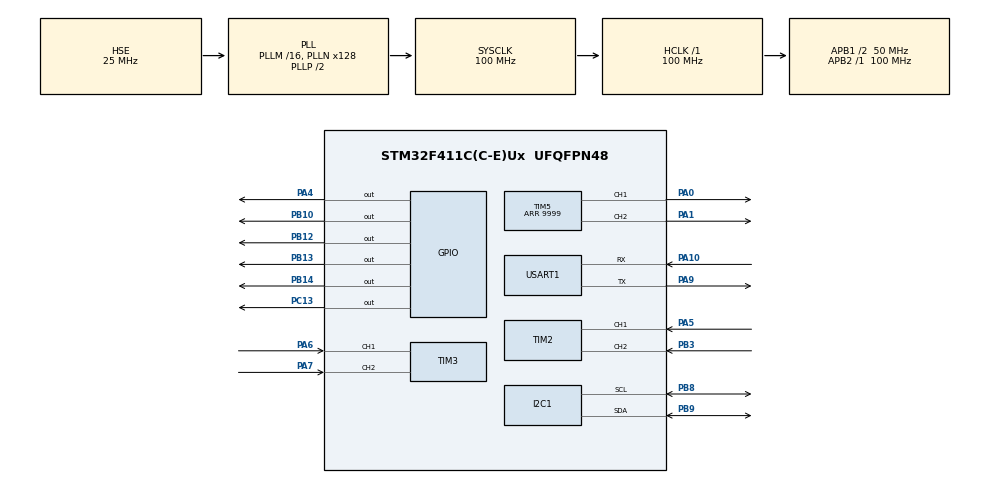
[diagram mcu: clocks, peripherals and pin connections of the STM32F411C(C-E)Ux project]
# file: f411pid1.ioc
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I2C1.OwnAddress=11
Mcu.Family=STM32F4
Mcu.Name=STM32F411C(C-E)Ux
Mcu.Package=UFQFPN48
NVIC.I2C1_ER_IRQn=true\:0\:0\:false\:false\:true\:true\:true\:true
NVIC.I2C1_EV_IRQn=true\:0\:0\:false\:false\:true\:true\:true\:true
NVIC.PriorityGroup=NVIC_PRIORITYGROUP_4
PA0-WKUP.Signal=S_TIM5_CH1
PA1.Signal=S_TIM5_CH2
PA10.Mode=Asynchronous
PA10.Signal=USART1_RX
PA13.Mode=Serial_Wire
PA13.Signal=SYS_JTMS-SWDIO
PA14.Mode=Serial_Wire
PA14.Signal=SYS_JTCK-SWCLK
PA4.Signal=GPIO_Output
PA5.Signal=S_TIM2_CH1_ETR
PA6.Signal=S_TIM3_CH1
PA7.Signal=S_TIM3_CH2
PA9.Mode=Asynchronous
PA9.Signal=USART1_TX
PB10.Signal=GPIO_Output
PB12.Signal=GPIO_Output
PB13.Signal=GPIO_Output
PB14.Signal=GPIO_Output
PB3.Signal=S_TIM2_CH2
PB8.Mode=I2C
PB8.Signal=I2C1_SCL
PB9.Mode=I2C
PB9.Signal=I2C1_SDA
PC13-ANTI_TAMP.Signal=GPIO_Output
PH0\ -\ OSC_IN.Mode=HSE-External-Oscillator
PH0\ -\ OSC_IN.Signal=RCC_OSC_IN
PH1\ -\ OSC_OUT.Mode=HSE-External-Oscillator
PH1\ -\ OSC_OUT.Signal=RCC_OSC_OUT
ProjectManager.HeapSize=0x200
ProjectManager.StackSize=0x400
ProjectManager.TargetToolchain=STM32CubeIDE
RCC.48MHZClocksFreq_Value=50000000
RCC.AHBFreq_Value=100000000
RCC.APB1CLKDivider=RCC_HCLK_DIV2
RCC.APB1Freq_Value=50000000
RCC.APB1TimFreq_Value=100000000
RCC.APB2Freq_Value=100000000
RCC.APB2TimFreq_Value=100000000
RCC.CortexFreq_Value=100000000
RCC.HCLKFreq_Value=100000000
RCC.HSE_VALUE=25000000
RCC.HSI_VALUE=16000000
RCC.LSE_VALUE=32768
RCC.PLLN=128
RCC.PLLSourceVirtual=RCC_PLLSOURCE_HSE
RCC.SYSCLKFreq_VALUE=100000000
RCC.SYSCLKSource=RCC_SYSCLKSOURCE_PLLCLK
RCC.VCOOutputFreq_Value=200000000
SH.S_TIM2_CH1_ETR.0=TIM2_CH1,Encoder_Interface
SH.S_TIM2_CH2.0=TIM2_CH2,Encoder_Interface
SH.S_TIM3_CH1.0=TIM3_CH1,Encoder_Interface
SH.S_TIM3_CH2.0=TIM3_CH2,Encoder_Interface
SH.S_TIM5_CH1.0=TIM5_CH1,PWM Generation1 CH1
SH.S_TIM5_CH2.0=TIM5_CH2,PWM Generation2 CH2
TIM2.EncoderMode=TIM_ENCODERMODE_TI12
TIM3.EncoderMode=TIM_ENCODERMODE_TI12
TIM5.Channel-PWM\ Generation1\ CH1=TIM_CHANNEL_1
TIM5.Channel-PWM\ Generation2\ CH2=TIM_CHANNEL_2
TIM5.Period=9999
USART1.VirtualMode=VM_ASYNC
board=custom

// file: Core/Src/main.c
/* USER CODE BEGIN Header */
/**
  ******************************************************************************
  * @file           : main.c
  * @brief          : Main program body
  ******************************************************************************
  * @attention
  *
  * Copyright (c) 2026 STMicroelectronics.
  * All rights reserved.
  *
  * This software is licensed under terms that can be found in the LICENSE file
  * in the root directory of this software component.
  * If no LICENSE file comes with this software, it is provided AS-IS.
  *
  ******************************************************************************
  */
/* USER CODE END Header */
#include "main.h"
#include "i2c.h"
#include "tim.h"
#include "usart.h"
#include "gpio.h"

/* USER CODE BEGIN Includes */

#include <stdio.h>
#include <math.h>
#include <stdlib.h>
#include <stdbool.h>

#include "pid_v1.h"

/* USER CODE END Includes */

/* USER CODE BEGIN PD */

// i2c commands protocol
#define CMD_RESET_ENCODERS 1
#define CMD_SET_PWM 2           // params: pwmLeft, pwmRight
#define CMD_LIDAR_MOTOR_ON 3
#define CMD_LIDAR_MOTOR_OFF 4
#define CMD_SET_MOTION 5        // params: leftSetPoint, rightSetpoint, distance
#define CMD_SET_VEL 6
#define CMD_SET_PID_KL  81
#define CMD_SET_PID_KR  82
#define CMD_SET_PID_KS  83

// motors pins
//#define LEFT_IN1   GPIOA, GPIO_PIN_4
//#define LEFT_IN2   GPIOB, GPIO_PIN_10
#define DAIN1  GPIOB, GPIO_PIN_10
#define DAIN2  GPIOA, GPIO_PIN_4
#define DAIN3  GPIOB, GPIO_PIN_12
#define DAIN4  GPIOB, GPIO_PIN_13

// LeftMotor
//#define leftMotorEn ENA
#define leftMotorEnENxTIM 5
#define leftMotorEnENxCH 1
#define leftMotorForward DAIN1
#define leftMotorBackward DAIN2

// RightMotor
//#define rightMotorEn ENB
#define rightMotorEnENxTIM 5
#define rightMotorEnENxCH 2
#define rightMotorForward DAIN3
#define rightMotorBackward DAIN4

#define PWM_MAX  9999

// pid.h (defines no antigo ficheiro pid.h e usadas no pid.ino e no diffbase.ino)

#define SPEED_PID_SAMPLE_TIME 25.0

// left speed PID control
#define LEFT_SPEED_PID_MIN_OUTPUT 5630
#define LEFT_SPEED_PID_MAX_OUTPUT 9999

// right speed PID control
#define RIGHT_SPEED_PID_MIN_OUTPUT 5630
#define RIGHT_SPEED_PID_MAX_OUTPUT 9999

// steering PID
#define STEERING_PID_SAMPLE_TIME 50 // 5
#define STEERING_PID_TARGET 0
#define STEERING_PID_MIN_OUTPUT -100
#define STEERING_PID_MAX_OUTPUT 100

// adaptative pid
//#define STEERING_PID_ADAPTATIVE_LIMIT 20
//#define STEERING_PID_ADAPTATIVE_DELAY 100
//#define SPEED_PID_ADAPTATIVE_LIMIT1 15
//#define SPEED_PID_ADAPTATIVE_LIMIT2 30
// speed change process
//#define SPEED_PID_CHANGE_DELAY 300   // time to wait before start change speed (SPEED_PID_SAMPLE_TIME * 12)
//unsigned long speedPidChangeTimer;
//int speedPidStepInterval = 250; // time between speed change steps
//byte speedPidChangeStatus = 0;

//#define MOTOR_TIME 200
//#define LIDAR_MOTOR_PIN PB12

// eof pid.h

/* USER CODE END PD */

/* USER CODE BEGIN PV */
uint32_t t_led = 0;
uint32_t t_uart = 0;

uint32_t LED_PERIOD  = 500;   // ms
uint32_t UART_PERIOD = 1000;  // ms

uint8_t i2c_rx_buf[32];
uint8_t i2c_tx_buf[32];

// left encoder
volatile int16_t encoderLeftPulsesRead  = 0;
int32_t encoderLeftPulses = 0;
int16_t encoderLeftLastRead = 0;
int16_t encoderLeftSpeedZeroRef = 0;
int16_t encoderLeftSteeringZeroRef = 0;
int16_t encoderLeftPulsesSpeedPID; 		// the number of pulses for PID
int16_t encoderLeftPulsesSteeringPID; 	// the number of pulses for PID, must be reset at same time
int8_t  encoderLeftSign = +1;   		// usar -1 se motor estiver invertido

// right encoder
volatile int16_t encoderRightPulsesRead = 0;
int32_t encoderRightPulses = 0;
int16_t encoderRightLastRead = 0;
int16_t encoderRightSpeedZeroRef = 0;
int16_t encoderRightSteeringZeroRef = 0;
int16_t encoderRightPulsesSpeedPID; // the number of pulses PID
int16_t encoderRightPulsesSteeringPID; // the number of pulses for PID, must be reset at same time
int8_t  encoderRightSign = +1;  // usar -1 se motor estiver invertido

// pid.h (variaveis declaradas no antigo ficheiro pid.h e usadas no pid.ino e no diffbase.ino)

// steering PID control
bool useSteeringPid = false;

double steeringPidKp0 = 1.0;
double steeringPidKi0 = 0.01;
double steeringPidKd0 = 0.0;

double steeringPidInput = 0;
int16_t steeringPidInputLast = 0;
double steeringPidOutput; // Power supplied to the motor PWM value.
double steeringPidSetPoint;
bool steeringdPidResult = false;

//PID steeringPid(&steeringPidInput, &steeringPidOutput, &steeringPidSetPoint, steeringPidKp0, steeringPidKi0, steeringPidKd0, REVERSE);
PID_t steeringPid;

// left speed PID control
double leftSpeedPidKp0 = 100;
double leftSpeedPidKi0 = 0;
double leftSpeedPidKd0 = 0;

double leftSpeedPidInput = 0;
int16_t leftSpeedPidInputLast = 0; // debug
double leftSpeedPidOutput; // Power supplied to the motor PWM value.
double leftSpeedPidSetPoint;
bool leftSpeedPidResult = false;

double leftSpeedPidSetPointTmp;
int16_t leftSpeedPidSetPointDirection;

//PID leftSpeedPid(&leftSpeedPidInput, &leftSpeedPidOutput, &leftSpeedPidSetPoint, leftSpeedPidKp0, leftSpeedPidKi0, leftSpeedPidKd0, DIRECT);
PID_t leftSpeedPid;

// right speed PID control
double rightSpeedPidKp0 = 100;
double rightSpeedPidKi0 = 0;
double rightSpeedPidKd0 = 0;

double rightSpeedPidInput = 0;
int16_t rightSpeedPidInputLast = 0; // debug
double rightSpeedPidOutput; // Power supplied to the motor PWM value.
double rightSpeedPidSetPoint;
bool rightSpeedPidResult = false;

double rightSpeedPidSetPointTmp;
int16_t rightSpeedPidSetPointDirection;

//PID rightSpeedPid(&rightSpeedPidInput, &rightSpeedPidOutput, &rightSpeedPidSetPoint, rightSpeedPidKp0, rightSpeedPidKi0, rightSpeedPidKd0, DIRECT);
PID_t rightSpeedPid;

// adaptative steering pid
//bool steeringPidAdaptativeStart = false;
//unsigned long steeringPidAdaptativeTimer;
//double steeringPidKp1 = 100.0;
//double steeringPidKi1 = 10.0;
//double steeringPidKd1 = 0;

// adaptative left pid
//double leftSpeedPidKp1 = 6000;
//double leftSpeedPidKi1 = 500;
//double leftSpeedPidKd1 = 0;
//double leftSpeedPidKp2 = 6000;
//double leftSpeedPidKi2 = 500;
//double leftSpeedPidKd2 = 0;

// adaptative right pid
//double rightSpeedPidKp1 = 6000;
//double rightSpeedPidKi1 = 500;
//double rightSpeedPidKd1 = 0;
//double rightSpeedPidKp2 = 6000;
//double rightSpeedPidKi2 = 500;
//double rightSpeedPidKd2 = 0;

// other
double minPidVel = 0.40;
double maxPidVel = 1.40;

// eof pid.h

/*
long encoderLeftPulsesTarget = 0;
long encoderRightPulsesTarget = 0;
bool encoderLeftPulsesOnTarget = false;
bool encoderRightPulsesOnTarget = false;
bool encoderPulsesTargetEnabled = false;
int encoderLeftPulsesTargetStopOffset = 0;
int encoderRightPulsesTargetStopOffset = 0;

long encoderLeftPulsesTargetStart = 0;
long encoderRightPulsesTargetStart = 0;
*/

int16_t leftMotorPwmOut = 0;
int16_t rightMotorPwmOut = 0;
int16_t leftMotorPwmOutCmd = 0;
int16_t rightMotorPwmOutCmd = 0;
bool PWMdirect = false;

//unsigned long motorTimer = 0;
//int motorPwm = 0;
//bool motorPwmUp = true;
//int lidarMotorPower = 0;

/* USER CODE END PV */

void SystemClock_Config(void);
/* USER CODE BEGIN PFP */

//void apply_motors(int16_t left, int16_t right);
void prepare_i2c_tx(void);

void setup_PID(void);
void update_PID(void);
bool leftSpeedPidCompute(void);
bool rightSpeedPidCompute(void);
bool steeringPidCompute(void);

void pwmWrite(uint8_t tim, uint8_t ch, int16_t pwm);
void bodyMotorsControl(void);

/* USER CODE END PFP */

/* USER CODE BEGIN 0 */

/*
int _write(int file, char *ptr, int len)
{
    HAL_UART_Transmit(&huart1, (uint8_t*)ptr, len, HAL_MAX_DELAY);
    return len;
}
*/

/* USER CODE END 0 */

int main(void)
{

  /* MCU Configuration--------------------------------------------------------*/

  /* Reset of all peripherals, Initializes the Flash interface and the Systick. */
  HAL_Init();

  /* Configure the system clock */
  SystemClock_Config();

  /* Initialize all configured peripherals */
  MX_GPIO_Init();
  MX_I2C1_Init();
  MX_TIM2_Init();
  MX_TIM3_Init();
  MX_TIM5_Init();
  MX_USART1_UART_Init();
  /* USER CODE BEGIN 2 */

  HAL_TIM_Encoder_Start(&htim2, TIM_CHANNEL_ALL);
  HAL_TIM_Encoder_Start(&htim3, TIM_CHANNEL_ALL);

  HAL_TIM_PWM_Start(&htim5, TIM_CHANNEL_1);
  HAL_TIM_PWM_Start(&htim5, TIM_CHANNEL_2);

  HAL_I2C_EnableListen_IT(&hi2c1);

  setup_PID();

  /*
  // left pid control start
  PID_Init(&leftSpeedPid, &leftSpeedPidInput, &leftSpeedPidOutput, &leftSpeedPidSetPoint,
             2.0, 5.0, 1.0, P_ON_E, DIRECT);

  PID_SetMode(&leftSpeedPid, AUTOMATIC);

  PID_Init(&rightSpeedPid, &rightSpeedPidInput, &rightSpeedPidOutput, &rightSpeedPidSetPoint,
             2.0, 5.0, 1.0, P_ON_E, DIRECT);

  PID_SetMode(&rightSpeedPid, AUTOMATIC);
  */

  /* USER CODE END 2 */

  /* Infinite loop */
  while (1)
  {

    /* USER CODE BEGIN 3 */

	  static double encoderLeftPulsesLast = 999;
	  static double encoderRightPulsesLast = 999;

	  uint32_t now = HAL_GetTick();

	  // LED blink
	  if ((now - t_led) >= LED_PERIOD)
	  {
	    t_led = now;
	    HAL_GPIO_TogglePin(GPIOC, GPIO_PIN_13);
	  }

	  // read encoders
	  encoderLeftPulsesRead = (int16_t)__HAL_TIM_GET_COUNTER(&htim2);
	  encoderRightPulsesRead = (int16_t)__HAL_TIM_GET_COUNTER(&htim3);

	  // -------- LEFT --------
	  int16_t leftDelta = encoderLeftPulsesRead - encoderLeftLastRead;
	  // overflow tratado automaticamente por aritmética int16_t
	  encoderLeftLastRead = encoderLeftPulsesRead;
	  encoderLeftPulses += (int32_t)(encoderLeftSign * leftDelta);
	  encoderLeftPulsesSpeedPID = (int16_t)(encoderLeftSign * (encoderLeftPulsesRead - encoderLeftSpeedZeroRef));
	  encoderLeftPulsesSteeringPID = (int16_t)(encoderLeftSign * (encoderLeftPulsesRead - encoderLeftSteeringZeroRef));

	  // -------- RIGHT --------
	  int16_t rightDelta = encoderRightPulsesRead - encoderRightLastRead;
	  encoderRightLastRead = encoderRightPulsesRead;
	  encoderRightPulses += (int32_t)(encoderRightSign * rightDelta);
	  encoderRightPulsesSpeedPID = (int16_t)(encoderRightSign * (encoderRightPulsesRead - encoderRightSpeedZeroRef));
	  encoderRightPulsesSteeringPID = (int16_t)(encoderRightSign * (encoderRightPulsesRead - encoderRightSteeringZeroRef));

	  if(encoderLeftPulses != encoderLeftPulsesLast || encoderRightPulses != encoderRightPulsesLast) {
	    if(encoderLeftPulses != encoderLeftPulsesLast) encoderLeftPulsesLast = encoderLeftPulses;
	    if(encoderRightPulses != encoderRightPulsesLast) encoderRightPulsesLast = encoderRightPulses;
	    //Serial.print(encoderLeftPulses); Serial.print("\t"); Serial.print(encoderRightPulses); Serial.println("\t");
	    //Serial.print(leftMotorPwmOut); Serial.print("\t"); Serial.print(rightMotorPwmOut); Serial.print("\t"); Serial.print(encoderLeftPulses); Serial.print("\t"); Serial.print(encoderRightPulses); Serial.println("\t");
	  }

	  // check encoder targets
	  // TODO

	  //PID_Compute(&pidfl);
	  //PID_Compute(&pidfr);
	  update_PID();

	  // set speed
	  if(PWMdirect) {
	    leftMotorPwmOut = leftMotorPwmOutCmd;
	    rightMotorPwmOut = rightMotorPwmOutCmd;
	    //PWMdirect = false;
	  } else {
	    leftMotorPwmOut = 0;
	    rightMotorPwmOut = 0;
	    if(leftSpeedPidSetPoint != 0) {
	      leftMotorPwmOut = leftSpeedPidOutput * leftSpeedPidSetPointDirection; // - steeringPidOutput;
	    }
	    if(rightSpeedPidSetPoint != 0) {
	      rightMotorPwmOut = rightSpeedPidOutput * rightSpeedPidSetPointDirection; // + steeringPidOutput;
	    }
	  }

	  // UART debug
	  if ((now - t_uart) >= UART_PERIOD)
	  {
	    t_uart = now;
	    char buf[64];
	    int n = sprintf(buf, "El=%ld Er=%ld spl=%d spr=%d pwl=%d pwr=%d pws=%d\r\n",
	    		encoderLeftPulses,
				encoderRightPulses,
				(int)leftSpeedPidSetPoint,
				(int)rightSpeedPidSetPoint,
				leftMotorPwmOut,
				rightMotorPwmOut,
				(int)PWMdirect
				);
	    HAL_UART_Transmit(&huart1, (uint8_t*)buf, n, 50);
	  }

	  bodyMotorsControl();

	  //apply_motors(leftSpeedPidSetPoint, rightSpeedPidSetPoint);

  }
  /* USER CODE END 3 */
}

void SystemClock_Config(void)
{
  RCC_OscInitTypeDef RCC_OscInitStruct = {0};
  RCC_ClkInitTypeDef RCC_ClkInitStruct = {0};

  /** Configure the main internal regulator output voltage
  */
  __HAL_RCC_PWR_CLK_ENABLE();
  __HAL_PWR_VOLTAGESCALING_CONFIG(PWR_REGULATOR_VOLTAGE_SCALE1);

  /** Initializes the RCC Oscillators according to the specified parameters
  * in the RCC_OscInitTypeDef structure.
  */
  RCC_OscInitStruct.OscillatorType = RCC_OSCILLATORTYPE_HSE;
  RCC_OscInitStruct.HSEState = RCC_HSE_ON;
  RCC_OscInitStruct.PLL.PLLState = RCC_PLL_ON;
  RCC_OscInitStruct.PLL.PLLSource = RCC_PLLSOURCE_HSE;
  RCC_OscInitStruct.PLL.PLLM = 16;
  RCC_OscInitStruct.PLL.PLLN = 128;
  RCC_OscInitStruct.PLL.PLLP = RCC_PLLP_DIV2;
  RCC_OscInitStruct.PLL.PLLQ = 4;
  if (HAL_RCC_OscConfig(&RCC_OscInitStruct) != HAL_OK)
  {
    Error_Handler();
  }

  /** Initializes the CPU, AHB and APB buses clocks
  */
  RCC_ClkInitStruct.ClockType = RCC_CLOCKTYPE_HCLK|RCC_CLOCKTYPE_SYSCLK
                              |RCC_CLOCKTYPE_PCLK1|RCC_CLOCKTYPE_PCLK2;
  RCC_ClkInitStruct.SYSCLKSource = RCC_SYSCLKSOURCE_PLLCLK;
  RCC_ClkInitStruct.AHBCLKDivider = RCC_SYSCLK_DIV1;
  RCC_ClkInitStruct.APB1CLKDivider = RCC_HCLK_DIV2;
  RCC_ClkInitStruct.APB2CLKDivider = RCC_HCLK_DIV1;

  if (HAL_RCC_ClockConfig(&RCC_ClkInitStruct, FLASH_LATENCY_3) != HAL_OK)
  {
    Error_Handler();
  }
}

/* USER CODE BEGIN 4 */

void setup_PID() {

  // steering PID
  steeringPidSetPoint = STEERING_PID_TARGET;
  PID_Init(&steeringPid, &steeringPidInput, &steeringPidOutput, &steeringPidSetPoint,
		  steeringPidKp0, steeringPidKi0, steeringPidKd0, P_ON_E, REVERSE);

  //PID_SetMode(&steeringPid, AUTOMATIC);
  PID_SetMode(&steeringPid, MANUAL);
  PID_SetSampleTime(&steeringPid, STEERING_PID_SAMPLE_TIME);
  PID_SetOutputLimits(&steeringPid, STEERING_PID_MIN_OUTPUT, STEERING_PID_MAX_OUTPUT);

  // left speed PID
  leftSpeedPidSetPoint = 0;

  PID_Init(&leftSpeedPid, &leftSpeedPidInput, &leftSpeedPidOutput, &leftSpeedPidSetPoint,
		  leftSpeedPidKp0, leftSpeedPidKi0, leftSpeedPidKd0, P_ON_E, DIRECT);

  //PID_SetMode(&leftSpeedPid, AUTOMATIC);
  PID_SetMode(&leftSpeedPid, MANUAL);
  PID_SetSampleTime(&leftSpeedPid, SPEED_PID_SAMPLE_TIME);
  PID_SetOutputLimits(&leftSpeedPid, LEFT_SPEED_PID_MIN_OUTPUT, LEFT_SPEED_PID_MAX_OUTPUT);

  // right speed PID
  rightSpeedPidSetPoint = 0;

  PID_Init(&rightSpeedPid, &rightSpeedPidInput, &rightSpeedPidOutput, &rightSpeedPidSetPoint,
		  rightSpeedPidKp0, rightSpeedPidKi0, rightSpeedPidKd0, P_ON_E, DIRECT);

  //PID_SetMode(&rightSpeedPid, AUTOMATIC);
  PID_SetMode(&rightSpeedPid, MANUAL);
  PID_SetSampleTime(&rightSpeedPid, SPEED_PID_SAMPLE_TIME);
  PID_SetOutputLimits(&rightSpeedPid, RIGHT_SPEED_PID_MIN_OUTPUT, RIGHT_SPEED_PID_MAX_OUTPUT);

}

void update_PID() {
  // calculate steeringPid
  if(useSteeringPid) {
    steeringdPidResult = steeringPidCompute();
  } else steeringdPidResult = false;

  // calculate speedPid
  leftSpeedPidResult = leftSpeedPidCompute();
  rightSpeedPidResult = rightSpeedPidCompute();

  if(leftSpeedPidSetPoint && (leftSpeedPidResult || rightSpeedPidResult)) {
    ////Serial.print(useSteeringPid);
    ////Serial.print("\t"); Serial.print(steeringPidInputLast); Serial.print("\t");
    //Serial.print(encoderLeftPulsesTarget); Serial.print("\t"); Serial.print(encoderRightPulsesTarget); Serial.print("\t");
    //Serial.print(encoderLeftPulses - encoderLeftPulsesTargetStart); Serial.print("\t"); Serial.print(encoderRightPulses - encoderRightPulsesTargetStart); Serial.print("\t");
//    Serial.print(leftSpeedPidSetPoint); Serial.print("\t"); //Serial.print(rightSpeedPidSetPoint); Serial.print("\t");
//    Serial.print(leftSpeedPidInputLast - leftSpeedPidSetPoint); Serial.print("\t");
//    Serial.print(rightSpeedPidInputLast - rightSpeedPidSetPoint); Serial.print("\t");
//    Serial.print(leftSpeedPidOutput); Serial.print("\t"); Serial.print(rightSpeedPidOutput); Serial.print("\t");
    //Serial.println("\t");

	    char buf[128];
	    int n = sprintf(buf, "usp= %d \t %d psp= %d %d %d %d po=%d %d %d %d pws=%d\r\n",
	    		(int)useSteeringPid,
				steeringPidInputLast,
				(int)leftSpeedPidSetPoint,
				(int)rightSpeedPidSetPoint,
				leftSpeedPidInputLast - (int)leftSpeedPidSetPoint,
				rightSpeedPidInputLast - (int)rightSpeedPidSetPoint,
				(int)leftSpeedPidOutput,
				(int)rightSpeedPidOutput,
				leftMotorPwmOut,
				rightMotorPwmOut,
				(int)PWMdirect
				);
	    HAL_UART_Transmit(&huart1, (uint8_t*)buf, n, 50);
  }
}

bool leftSpeedPidCompute() {
  bool pidResult;

  if(useSteeringPid) {
    leftSpeedPidInput = abs(encoderLeftPulsesSpeedPID) + (abs(encoderLeftPulsesSpeedPID) * steeringPidOutput / 100);
  } else {
    leftSpeedPidInput = abs(encoderLeftPulsesSpeedPID);
  }

  // adaptative code here. see old file

  pidResult = PID_Compute(&leftSpeedPid);
  if(pidResult) {
	encoderLeftSpeedZeroRef  = encoderLeftPulsesRead;
    encoderLeftPulsesSpeedPID = 0;
    leftSpeedPidInputLast = leftSpeedPidInput;
  }
  return pidResult;
}

bool rightSpeedPidCompute() {
  bool pidResult;

  if(useSteeringPid) {
    rightSpeedPidInput = abs(encoderRightPulsesSpeedPID) - (abs(encoderRightPulsesSpeedPID) * steeringPidOutput / 100);
  } else {
    rightSpeedPidInput = abs(encoderRightPulsesSpeedPID);
  }

  // adaptative code here. see old file

  pidResult = PID_Compute(&rightSpeedPid);
  if(pidResult) {
	encoderRightSpeedZeroRef = encoderRightPulsesRead;
    encoderRightPulsesSpeedPID = 0;
    rightSpeedPidInputLast = rightSpeedPidInput;
  }
  return pidResult;
}

bool steeringPidCompute() {
  bool pidResult;

  // calculate pwm wheel diference correction using pid
  steeringPidInput = abs(encoderLeftPulsesSteeringPID) - abs(encoderRightPulsesSteeringPID);

  // adaptative code here. see old file

  pidResult = PID_Compute(&steeringPid);
  if(pidResult) {
    steeringPidInputLast = steeringPidInput;
  }
  return pidResult;
}

static inline void setBodyMotorLeftForward(void){
  HAL_GPIO_WritePin(leftMotorForward, GPIO_PIN_SET);
  HAL_GPIO_WritePin(leftMotorBackward, GPIO_PIN_RESET);
}

static inline void setBodyMotorLeftBackward(void){
  HAL_GPIO_WritePin(leftMotorForward, GPIO_PIN_RESET);
  HAL_GPIO_WritePin(leftMotorBackward, GPIO_PIN_SET);
}

static inline void setBodyMotorLeftStop(void){
  HAL_GPIO_WritePin(leftMotorForward, GPIO_PIN_RESET);
  HAL_GPIO_WritePin(leftMotorBackward, GPIO_PIN_RESET);
}

static inline void setBodyMotorLeftBrake() {
  HAL_GPIO_WritePin(leftMotorForward, GPIO_PIN_SET);
  HAL_GPIO_WritePin(leftMotorBackward, GPIO_PIN_SET);
}

static inline void setBodyMotorRightForward(void){
  HAL_GPIO_WritePin(rightMotorForward, GPIO_PIN_SET);
  HAL_GPIO_WritePin(rightMotorBackward, GPIO_PIN_RESET);
}

static inline void setBodyMotorRightBackward(void){
  HAL_GPIO_WritePin(rightMotorForward, GPIO_PIN_RESET);
  HAL_GPIO_WritePin(rightMotorBackward, GPIO_PIN_SET);
}

static inline void setBodyMotorRightStop(void){
  HAL_GPIO_WritePin(rightMotorForward, GPIO_PIN_RESET);
  HAL_GPIO_WritePin(rightMotorBackward, GPIO_PIN_RESET);
}

static inline void setBodyMotorRightBrake() {
  HAL_GPIO_WritePin(rightMotorForward, GPIO_PIN_SET);
  HAL_GPIO_WritePin(rightMotorBackward, GPIO_PIN_SET);
}

/*
void apply_motors(int16_t left, int16_t right)
{
  // LEFT
  if (left == 0) {
    left_stop();
    __HAL_TIM_SET_COMPARE(&htim5, TIM_CHANNEL_1, 0);
  } else if (left > 0) {
    left_forward();
    __HAL_TIM_SET_COMPARE(&htim5, TIM_CHANNEL_1, (left > PWM_MAX ? PWM_MAX : left));
  } else {
    left_backward();
    __HAL_TIM_SET_COMPARE(&htim5, TIM_CHANNEL_1, ((-left) > PWM_MAX ? PWM_MAX : -left));
  }

  // RIGHT
  if (right == 0) {
    right_stop();
    __HAL_TIM_SET_COMPARE(&htim5, TIM_CHANNEL_2, 0);
  } else if (right > 0) {
    right_forward();
    __HAL_TIM_SET_COMPARE(&htim5, TIM_CHANNEL_2, (right > PWM_MAX ? PWM_MAX : right));
  } else {
    right_backward();
    __HAL_TIM_SET_COMPARE(&htim5, TIM_CHANNEL_2, ((-right) > PWM_MAX ? PWM_MAX : -right));
  }
}
*/

void pwmWrite(uint8_t tim, uint8_t ch, int16_t pwm) {

	switch (tim) {
	case 5:
		switch (ch) {
		case 1:
			__HAL_TIM_SET_COMPARE(&htim5, TIM_CHANNEL_1, pwm);
			break;
		case 2:
			__HAL_TIM_SET_COMPARE(&htim5, TIM_CHANNEL_2, pwm);
			break;
		}
		break;
	// add other tim's cases
	}

}

void bodyMotorsControl(void) {
  // brake control vars
  uint8_t leftBrake = false;
  uint8_t rightBrake = false;

  // lógica de controlo do brake
  // TODO

  // set motor left direction & speed
  if(leftMotorPwmOut == 0) {

    if(leftBrake) {
      setBodyMotorLeftBrake();
      //pwmWrite(leftMotorEn,64000);
      //__HAL_TIM_SET_COMPARE(&htim5, TIM_CHANNEL_1, PWM_MAX);
      pwmWrite(leftMotorEnENxTIM, leftMotorEnENxCH, PWM_MAX);
    } else {
      setBodyMotorLeftStop();
      //pwmWrite(leftMotorEn, 0);
      //__HAL_TIM_SET_COMPARE(&htim5, TIM_CHANNEL_1, 0);
      pwmWrite(leftMotorEnENxTIM, leftMotorEnENxCH, 0);
    }

  } else if(leftMotorPwmOut > 0) {
    setBodyMotorLeftForward();
    //pwmWrite(leftMotorEn, leftMotorPwmOut);
    //__HAL_TIM_SET_COMPARE(&htim5, TIM_CHANNEL_1, (leftMotorPwmOut > PWM_MAX ? PWM_MAX : leftMotorPwmOut));
    pwmWrite(leftMotorEnENxTIM, leftMotorEnENxCH, (leftMotorPwmOut > PWM_MAX ? PWM_MAX : leftMotorPwmOut));

  } else {
    setBodyMotorLeftBackward();
    //pwmWrite(leftMotorEn, abs(leftMotorPwmOut));
    //__HAL_TIM_SET_COMPARE(&htim5, TIM_CHANNEL_1, (abs(leftMotorPwmOut) > PWM_MAX ? PWM_MAX : abs(leftMotorPwmOut)));
    pwmWrite(leftMotorEnENxTIM, leftMotorEnENxCH, (abs(leftMotorPwmOut) > PWM_MAX ? PWM_MAX : abs(leftMotorPwmOut)));
  }

  // set motor right direction & speed
  if(rightMotorPwmOut == 0) {

    if(rightBrake) {
      setBodyMotorRightBrake();
      //pwmWrite(rightMotorEn, 64000);
      //__HAL_TIM_SET_COMPARE(&htim5, TIM_CHANNEL_2, PWM_MAX);
      pwmWrite(rightMotorEnENxTIM, rightMotorEnENxCH, PWM_MAX);
    } else {
      setBodyMotorRightStop();
      //pwmWrite(rightMotorEn, 0);
      //__HAL_TIM_SET_COMPARE(&htim5, TIM_CHANNEL_2, 0);
      pwmWrite(rightMotorEnENxTIM, rightMotorEnENxCH, 0);
    }

  } else if(rightMotorPwmOut > 0) {
    setBodyMotorRightForward();
    //pwmWrite(rightMotorEn, rightMotorPwmOut);
    //__HAL_TIM_SET_COMPARE(&htim5, TIM_CHANNEL_2, (rightMotorPwmOut > PWM_MAX ? PWM_MAX : rightMotorPwmOut));
    pwmWrite(rightMotorEnENxTIM, rightMotorEnENxCH, (rightMotorPwmOut > PWM_MAX ? PWM_MAX : rightMotorPwmOut));
  } else {
    setBodyMotorRightBackward();
    //pwmWrite(rightMotorEn, abs(rightMotorPwmOut));
    //__HAL_TIM_SET_COMPARE(&htim5, TIM_CHANNEL_2, (abs(rightMotorPwmOut) > PWM_MAX ? PWM_MAX : abs(rightMotorPwmOut)));
    pwmWrite(rightMotorEnENxTIM, rightMotorEnENxCH, (abs(rightMotorPwmOut) > PWM_MAX ? PWM_MAX : abs(rightMotorPwmOut)));
  }

}

void HAL_I2C_AddrCallback(I2C_HandleTypeDef *hi2c,
                          uint8_t TransferDirection,
                          uint16_t AddrMatchCode)
{
  if (hi2c->Instance == I2C1)
  {
    if (TransferDirection == I2C_DIRECTION_TRANSMIT)
    {
      // Master vai escrever → nós vamos receber
      HAL_I2C_Slave_Seq_Receive_IT(hi2c, i2c_rx_buf, 32, I2C_FIRST_AND_LAST_FRAME);
    }
    else
    {
      prepare_i2c_tx();
      // Master vai ler → nós vamos enviar
      HAL_I2C_Slave_Seq_Transmit_IT(hi2c, i2c_tx_buf, 32, I2C_FIRST_FRAME);
    }
  }
}

void HAL_I2C_SlaveRxCpltCallback(I2C_HandleTypeDef *hi2c)
{
  if (hi2c->Instance != I2C1) return;

  int16_t encoderPulsesTarget = 0;

  uint8_t cmd = i2c_rx_buf[0];

  //int16_t *data = (int16_t*)&i2c_rx_buf[0];

  switch (cmd)
  {
    case 1: // CMD_RESET_ENCODERS
	  HAL_TIM_Encoder_Stop(&htim2, TIM_CHANNEL_ALL);
	  HAL_TIM_Encoder_Stop(&htim3, TIM_CHANNEL_ALL);

      __HAL_TIM_SET_COUNTER(&htim2, 0);
      __HAL_TIM_SET_COUNTER(&htim3, 0);

      HAL_TIM_Encoder_Start(&htim2, TIM_CHANNEL_ALL);
      HAL_TIM_Encoder_Start(&htim3, TIM_CHANNEL_ALL);

      encoderLeftPulses = 0;
      encoderRightPulses = 0;
      break;

    case 2: // CMD_SET_PWM
      // com inversão de bytes no pi
      leftMotorPwmOutCmd  = ((int16_t*)i2c_rx_buf)[1];
      rightMotorPwmOutCmd = ((int16_t*)i2c_rx_buf)[2];
      // sem inversão dos bytesno pi //
      // buf[1] | (buf[2]<<8)
      //leftSpeedPidSetPoint  = (int16_t)(i2c_rx_buf[1] | (i2c_rx_buf[2] << 8));
      //rightSpeedPidSetPoint = (int16_t)(i2c_rx_buf[3] | (i2c_rx_buf[4] << 8));
      PWMdirect = true;
      break;

    case 3: // CMD_LIDAR_MOTOR_ON
        //Serial.println("set lidar on");
        // lidar motor on
        //lidarMotorPower = HIGH;
        //digitalWrite(LIDAR_MOTOR_PIN, lidarMotorPower);

    	//printf("XXXXXXXXXX: %d\r\n", encoderLeftPulses);
      break;

    case 4: // CMD_LIDAR_MOTOR_OFF
        // lidar motor off
        //Serial.println("set lidar off");
        //lidarMotorPower = LOW;
        //digitalWrite(LIDAR_MOTOR_PIN, lidarMotorPower);
      break;

    case 5: // CMD_SET_MOTION
    case 6: // CMD_SET_VEL

    	PWMdirect = false;

      //leftSpeedPidSetPoint  = ((int16_t*)i2c_rx_buf)[1];
      //rightSpeedPidSetPoint = ((int16_t*)i2c_rx_buf)[2];

      leftSpeedPidSetPointTmp  = ((int16_t*)i2c_rx_buf)[1];
      rightSpeedPidSetPointTmp = ((int16_t*)i2c_rx_buf)[2];

      if(cmd == CMD_SET_MOTION) {
        encoderPulsesTarget = ((int16_t*)i2c_rx_buf)[3];
      } else {
        encoderPulsesTarget = 0;
      }

      //Serial.print(leftSpeedPidSetPointTmp); Serial.print("\t"); Serial.print(rightSpeedPidSetPointTmp); Serial.print("\t"); Serial.print(encoderPulsesTarget); Serial.println();

      // set left motors direction and speed
      if(leftSpeedPidSetPointTmp > 0) {
        leftSpeedPidSetPointDirection = 1;
        leftSpeedPidSetPoint = round(leftSpeedPidSetPointTmp);
      } else if(leftSpeedPidSetPointTmp < 0) {
        leftSpeedPidSetPointDirection = -1;
        leftSpeedPidSetPoint = round(abs(leftSpeedPidSetPointTmp));
      } else {
        leftSpeedPidSetPointDirection = 0;
        leftSpeedPidSetPoint = round(leftSpeedPidSetPointTmp);
      }

      // set right motors direction and speed
      if(rightSpeedPidSetPointTmp > 0) {
        rightSpeedPidSetPointDirection = 1;
        rightSpeedPidSetPoint = round(rightSpeedPidSetPointTmp);
      } else if(rightSpeedPidSetPointTmp < 0) {
        rightSpeedPidSetPointDirection = -1;
        rightSpeedPidSetPoint = round(abs(rightSpeedPidSetPointTmp));
      } else {
        rightSpeedPidSetPointDirection = 0;
        rightSpeedPidSetPoint = 0;
      }

      //Serial.print(leftSpeedPidSetPointDirection); Serial.print("\t"); Serial.print(rightSpeedPidSetPointDirection); Serial.print("\t"); Serial.print(encoderPulsesTarget); Serial.println();

      PID_SetMode(&leftSpeedPid, AUTOMATIC);
      PID_SetMode(&rightSpeedPid, AUTOMATIC);

      // switch on/off the steering pid
      if(leftSpeedPidSetPoint == rightSpeedPidSetPoint && leftSpeedPidSetPoint != 0) {
        // rotate or linear translation
    	//PID_SetMode(&steeringPid, AUTOMATIC);
        useSteeringPid = true;
        encoderLeftSteeringZeroRef  = encoderLeftPulsesRead;
        encoderLeftPulsesSteeringPID = 0;
        encoderRightSteeringZeroRef = encoderRightPulsesRead;
        encoderRightPulsesSteeringPID = 0;
      } else {
        // curve
    	//PID_SetMode(&steeringPid, MANUAL);
        useSteeringPid = false;
        encoderLeftSteeringZeroRef  = encoderLeftPulsesRead;
        encoderLeftPulsesSteeringPID = 0;
        encoderRightSteeringZeroRef = encoderRightPulsesRead;
        encoderRightPulsesSteeringPID = 0;
      }

      // set the target for encoders if any
      if(encoderPulsesTarget) {
    	char str[64];
    	const char *buf =  "TODO: set the target for encoders if any ";
		int n = sprintf(str, "%s\r\n",buf);
		HAL_UART_Transmit(&huart1, (uint8_t*)buf, n, 50);
    	// TODO : check old file
      }

      break;

    case 81:
    case 82:
    case 83:
      // PID tunings → ignorado nesta fase
      break;
  }
}

void prepare_i2c_tx(void)
{
  int16_t *tx = (int16_t*)i2c_tx_buf;

  tx[0] = 0;
  tx[1] = encoderLeftPulses;
  tx[2] = encoderRightPulses;
  tx[3] = leftSpeedPidSetPoint - leftSpeedPidInputLast;
  tx[4] = rightSpeedPidSetPoint - rightSpeedPidInputLast;
  tx[5] = steeringPidInputLast;
}

void HAL_I2C_SlaveTxCpltCallback(I2C_HandleTypeDef *hi2c)
{
  prepare_i2c_tx();
}

void HAL_I2C_ListenCpltCallback(I2C_HandleTypeDef *hi2c)
{
  HAL_I2C_EnableListen_IT(hi2c);
}

/* USER CODE END 4 */

void Error_Handler(void)
{
  __disable_irq();
  while (1)
  {
  }
}
